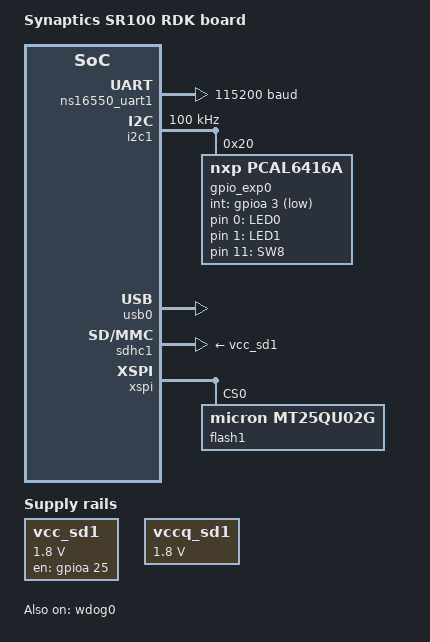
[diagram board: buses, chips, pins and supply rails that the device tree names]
/*
 * Copyright (c) 2025 Synaptics, Inc.
 *
 * SPDX-License-Identifier: Apache-2.0
 */

/dts-v1/;
#include <synaptics/astra_sr/sr100.dtsi>
#include <synaptics/astra_sr/sr100_pinctrl.dtsi>
#include <zephyr/dt-bindings/gpio/gpio.h>
#include <zephyr/dt-bindings/input/input-event-codes.h>

/ {
	model = "Synaptics SR100 RDK board";
	compatible = "syna,sr100-rdk";

	chosen {
		zephyr,console = &ns16550_uart1;
		zephyr,shell-uart = &ns16550_uart1;
		zephyr,sram = &sram0;
		zephyr,flash = &itcm0;
		zephyr,flash-controller = &xspi;
		zephyr,code-partition = &itcm0;
	};

	aliases {
		led0 = &led0;
		led-controller-0 = &led_controller_0;
		sw0 = &user_button;
		sdhc1 = &sdhc1;
	};

	led_controller_0: gpio-leds {
		compatible = "gpio-leds";

		led0: led_0 {
			gpios = <&gpio_exp0 0 GPIO_ACTIVE_HIGH>;
			label = "LED0";
		};

		led1: led_1 {
			gpios = <&gpio_exp0 1 GPIO_ACTIVE_HIGH>;
			label = "LED1";
		};
	};

	buttons: keys {
		compatible = "gpio-keys";

		user_button: user_button {
			label = "SW8";
			gpios = <&gpio_exp0 11 GPIO_ACTIVE_HIGH>;
			zephyr,code = <INPUT_KEY_0>;
		};
	};

	vcc_sd1: regulator-vcc-sd1 {
		compatible = "regulator-fixed";

		regulator-name = "SD1 Vcc";
		regulator-min-microvolt = <1800000>;
		regulator-max-microvolt = <1800000>;

		enable-gpios = <&gpioa 25 GPIO_ACTIVE_HIGH
				&gpio_exp0 7 GPIO_ACTIVE_HIGH>;
	};

	vccq_sd1: regulator-vccq-sd1 {
		compatible = "regulator-fixed";

		regulator-name = "SD1 VccQ";
		regulator-min-microvolt = <1800000>;
		regulator-max-microvolt = <1800000>;
	};
};

&ns16550_uart0 {
	pinctrl-0 = <&uart0_tx_b &uart0_rx_b>;
	pinctrl-names = "default";
	current-speed = <115200>;
	dlf = <2>;
	status = "disabled";
};

&ns16550_uart1 {
	pinctrl-0 = <&uart1_tx_a &uart1_rx_a>;
	pinctrl-names = "default";
	current-speed = <115200>;
	dlf = <2>;
	status = "okay";
};

&i2c1_ms_scl_b {
	bias-pull-up;
};

&i2c1_ms_sda_b {
	bias-pull-up;
};

&i2c1 {
	status = "okay";
	pinctrl-0 = <&i2c1_ms_scl_b &i2c1_ms_sda_b>;
	pinctrl-names = "default";
	clock-frequency = <I2C_BITRATE_STANDARD>;

	gpio_exp0: pca6416@20 {
		compatible = "nxp,pcal6416a";
		reg = <0x20>;
		gpio-controller;
		#gpio-cells = <2>;
		ngpios = <16>;
		int-gpios = <&gpioa 3 GPIO_ACTIVE_LOW>;
	};

	mc3479: mc3419@4c {
		compatible = "memsic,mc3419";
		status = "disabled";
		reg = <0x4c>;
		int-gpios = <&gpio_exp0 4 0>;
		lpf-fc-sel = <0>;
	};
};

&spi0 {
	/* Note that the default pinmux configuration for this board uses GP23/GP24
	 * for UART1_TX/UART1_RX respectively, which conflicts with the
	 * spi_mstr_mosi/spi_mstr_miso muxes.
	 */
	pinctrl-0 = <&spi_mstr_mosi &spi_mstr_miso &spi_mstr_clk &spi_mstr_cs>;
	pinctrl-names = "default";
	status = "disabled";
};

&gpioa {
	status = "okay";
};

&gpiob {
	status = "okay";
};

zephyr_udc0: &usb0 {
	status = "okay";
};

&aon_event_gpio {
	pinctrl-0 = <&aon_gpo1>;
	pinctrl-names = "default";
	status = "okay";
};

&gpo1 {
	polarity = <GPIO_ACTIVE_HIGH>;
};

&wdog0 {
	status = "okay";
};

&sdhc1 {
	pinctrl-0 = <&sd1_cmd &sd1_clk &sd1_d0 &sd1_d1 &sd1_d2 &sd1_d3 &gpio_25>;
	pinctrl-names = "default";
	vmmc-supply = <&vcc_sd1>;
	vmmcq-supply = <&vccq_sd1>;
	max-bus-freq = <25000000>;
	status = "okay";
};

&sd1_cmd {
	bias-disable;
};

&sd1_clk {
	bias-disable;
};

&sd1_d0 {
	bias-disable;
};

&sd1_d1 {
	bias-disable;
};

&sd1_d2 {
	bias-disable;
};

&sd1_d3 {
	bias-disable;
};

&xspi {
	status = "okay";
	pinctrl-0 = <&xspi_data0 &xspi_data1 &xspi_data2 &xspi_data3 &xspi_dqs
		     &xspi_clk &xspi_clk_n &xspi_cs0>;
	pinctrl-names = "default";

	flash1: mt25qu02g@0 {
		/* Gigadevice gd25lq128ewigr */
		compatible = "micron,mt25qu02g";
		reg = <0>;
		size = <DT_SIZE_M(128)>; /* in bits */
		status = "okay";
	};
};

&xspi_data0 {
	bias-pull-down;
	drive-strength = <3>;
};

&xspi_data1 {
	bias-pull-down;
	drive-strength = <3>;
};

&xspi_data2 {
	bias-pull-down;
	drive-strength = <3>;
};

&xspi_data3 {
	bias-pull-down;
	drive-strength = <3>;
};

&xspi_dqs {
	bias-pull-down;
	drive-strength = <3>;
};

&xspi_clk {
	bias-pull-down;
	drive-strength = <3>;
};

&xspi_clk_n {
	bias-pull-down;
	drive-strength = <3>;
};

&xspi_cs0 {
	bias-pull-down;
	drive-strength = <3>;
};
